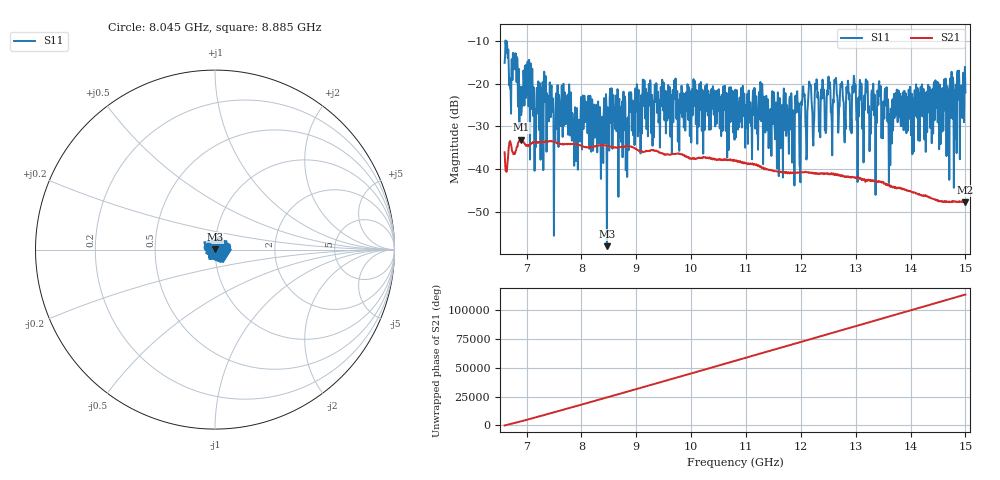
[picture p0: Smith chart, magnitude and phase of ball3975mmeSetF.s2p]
!Keysight Technologies,N5235B,MY61252044,A.15.00.15
!Date: Friday, January 20, 2023 19:05:14
!Correction: S11(Off)
!S21(Off)
!S12(Off)
!S22(Off)
!S2P File: Measurements: S11, S21, S12, S22:
# Hz S  RI  R 50
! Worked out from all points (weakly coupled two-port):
!   1001 points, 6.6 GHz to 15 GHz, reference 50 ohm
!   highest |S21| = -33.05 dB at 6.902 GHz (marker M1); lowest = -47.7 dB at 14.99 GHz (marker M2)
!   lowest |S11| = -58.0 dB at 8.465 GHz (marker M3), VSWR 1.00, Z = 49.9 + j0.113 ohm
!   |S11| at or under -10 dB: start of sweep to 6.616556 GHz; 6.617 GHz to end of sweep
!   S12 and S22 are empty: the file has one direction only
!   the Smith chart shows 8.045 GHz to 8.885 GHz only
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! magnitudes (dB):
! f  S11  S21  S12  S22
! 6.6 GHz  -15.1  -36.0  -  -
! 6.701 GHz  -21.1  -33.4  -  -
! 6.793 GHz  -16.6  -36.2  -  -
! 6.902 GHz  -27.3  -33.0  -  -
! 7.012 GHz  -22.6  -34.5  -  -
! 7.163 GHz  -26.1  -33.7  -  -
! 8.003 GHz  -26.7  -34.5  -  -
! 8.465 GHz  -58.0  -34.5  -  -
! 8.557 GHz  -21.7  -34.8  -  -
! 8.818 GHz  -28.2  -34.6  -  -
! 9.137 GHz  -25.2  -35.9  -  -
! 9.406 GHz  -29.1  -35.8  -  -
! 10.8 GHz  -21.5  -38.1  -  -
! 11.3 GHz  -20.1  -39.7  -  -
! 11.63 GHz  -35.1  -40.6  -  -
! 12.2 GHz  -25.2  -40.7  -  -
! 12.98 GHz  -19.1  -41.8  -  -
! 13.05 GHz  -23.2  -41.8  -  -
! 13.55 GHz  -25.1  -43.5  -  -
! 13.61 GHz  -43.2  -43.6  -  -
! 14.99 GHz  -16.1  -47.7  -  -
! 15 GHz  -22.1  -47.6  -  -
